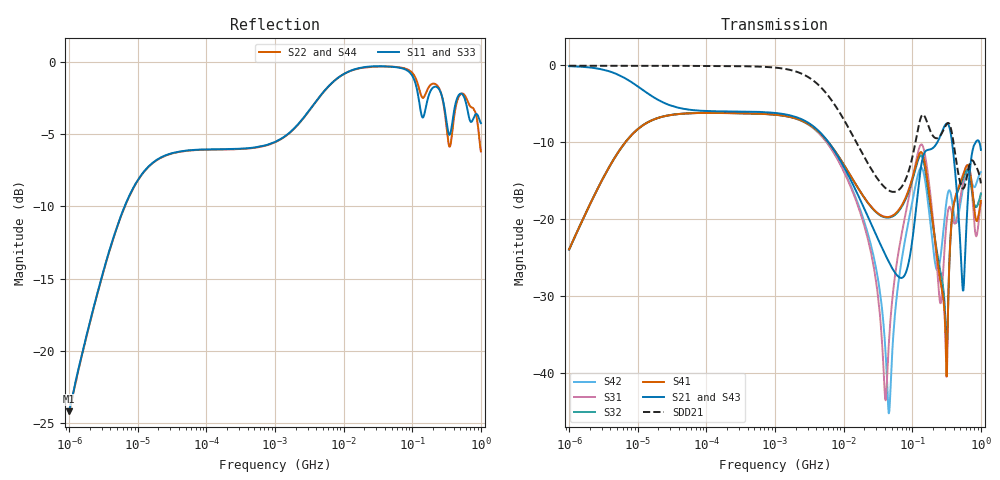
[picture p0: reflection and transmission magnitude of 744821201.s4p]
! This data is being provided by Wuerth Elektronik eiSos GmbH & Co. KG to the industry for analysis.
! Document information:
! Version:rev20a Date: 26/02/2020
! Component information:
! Match Code: WE-CMB P/N: 744821201 Size: Type XS
! Disclaimer:  While Würth Elektronik eiSos has made every reasonable effort to ensure the accuracy
! of the information provided, Würth Elektronik eiSos does not guarantee the exemption of error on the
! data collection measurements, nor does Würth Elektronik eiSos guarantee that the information is current.
! Würth Elektronik eiSos reserves the right to make any adjustments at any time without notice.
! Würth Elektronik eiSos expressly disclaims all implied warranties regarding this measurement data collection.
! Note 1  This data measurement is representative according to the product implementation into the fixture.
! Component behavior is sensitive to implementation into the fixture, which includes board
! materials, trace geometry information, connector pin out, layer connection, use of de-embedding
! techniques, etc.
! Note 2 - The fixture was designed specifically to match the 50 Ohm line impedance, as well as the connector impedance,
! in order to accomplish a reliable measurement without reflections in the trace. Any other implementation of the fixture will change the obtained
! measurement performance. The used fixture behavior was de-embedded to accomplish reliable measurement results.
! The test setup consisted of the following:
!  - Agilent VNA N5242B or E5080A
!  - Calibrations are SOLT (short open load thru)
!  - De-embedding of the SMA's or line cards were included
!  - Equipment Settings -
!  - Sampling - 801 points
!  - IF BW  0.5 kHz
!  - Averaging  Not used
!  Port 1----->|4|  |3| -----> Port 2
!  |  DUT  |
!  Port 3----->|1|  |2| -----> Port 4
!*VNA Port --> |Port in Datasheet|
! |Port in Datasheet| --> VNA Port
! For further information regarding this testing, please contact
! Wuerth Elektronik eiSos
! Contact: EDA team in QDC
! Email: libraries@we-online.com or libraries@we-online.de
# Hz S  RI  R 50
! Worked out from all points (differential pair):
!   801 points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, 1 kHz to 1 GHz, reference 50 ohm
!   strongest paths, dB at 1 kHz, 31.62 kHz, 1 MHz, 31.62 MHz, 1 GHz:
!     S21: -0.1, -5.3, -6.2, -22.6, -11.0
!     S43: -0.1, -5.3, -6.2, -22.6, -10.9
!     S41: -23.9, -6.4, -6.4, -19.3, -17.6
!     S32: -24.0, -6.4, -6.4, -19.3, -16.7
!     S31: -24.0, -6.4, -6.4, -30.0, -17.7
!     S42: -24.0, -6.4, -6.4, -27.8, -13.9
!   taken as a pair (ports 1,3 in; 2,4 out), SDD21 dB: 0.0, 0.0, -0.3, -14.8, -15.4
!   lowest |S11| = -24.2 dB at 1 kHz (marker M1), VSWR 1.13, Z = 50.9 + j6.16 ohm
!   |S11| at or under -10 dB: start of sweep to 6.429 kHz
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1000  0.0128 0.0602  0.9879 -0.0602  0.00858 0.0627  -0.00856 -0.0627
      0.9878 -0.0605  0.0115 0.0594  -0.00846 -0.0627  0.00855 0.0627
      0.00861 0.0628  -0.00883 -0.0627  0.0132 0.058  0.9874 -0.0592
      -0.00862 -0.063  0.00865 0.0627  0.9873 -0.0588  0.0125 0.0587
2497468  0.604 0.1952  0.3975 -0.1995  0.3875 -0.1949  -0.3875 0.2006
         0.3974 -0.1995  0.6024 0.1949  -0.3872 0.2003  0.3875 -0.1943
         0.3876 -0.195  -0.3874 0.2004  0.6026 0.1951  0.3974 -0.1987
         -0.3876 0.2006  0.3877 -0.1943  0.3975 -0.1987  0.6012 0.1954
4.544645e7  0.9656 -0.0662  0.0126 -0.0511  0.0074 0.0132  0.00948 0.1027
            0.0125 -0.0512  0.9663 -0.0489  0.00958 0.1016  0.00538 -0.00102
            0.00748 0.0132  0.00967 0.1018  0.9627 -0.0659  0.0132 -0.0514
            0.00953 0.1027  0.00534 -0.00102  0.0133 -0.0514  0.9633 -0.0494
1.303167e8  0.6517 -0.2422  -0.1963 0.0378  0.2848 0.0966  0.2478 0.1092
            -0.1963 0.0379  0.7545 -0.2247  0.2365 0.1042  0.1945 0.089
            0.2849 0.0967  0.2365 0.1044  0.6613 -0.2419  -0.1959 0.0378
            0.2479 0.1094  0.1945 0.0891  -0.1958 0.0379  0.7417 -0.2276
3.090295e8  0.5889 -0.2679  0.3475 0.2266  0.0449 0.0725  0.00708 -0.0115
            0.3477 0.2268  0.5447 -0.3044  0.007 -0.0162  0.0697 0.0984
            0.0445 0.0723  0.007 -0.0165  0.5815 -0.2304  0.3526 0.1916
            0.00716 -0.0114  0.0699 0.099  0.3522 0.1908  0.5334 -0.2713
5.463865e8  0.7098 -0.3029  0.0308 0.015  0.1117 0.1278  0.1161 0.1541
            0.0308 0.0149  0.7208 -0.2967  0.1085 0.1482  0.1012 0.1207
            0.1116 0.1282  0.1083 0.1487  0.7192 -0.2936  0.0312 0.0159
            0.1161 0.1539  0.1013 0.1203  0.0311 0.0167  0.71 -0.2934
1e9  0.5362 -0.3024  0.2747 0.0618  0.0709 0.1094  0.0914 0.0939
     0.2751 0.0618  0.3743 -0.3182  0.1047 0.1035  0.1809 0.0879
     0.0701 0.1093  0.1039 0.1035  0.5448 -0.335  0.2635 0.1141
     0.0916 0.0941  0.1822 0.088  0.2618 0.1137  0.4074 -0.3404
